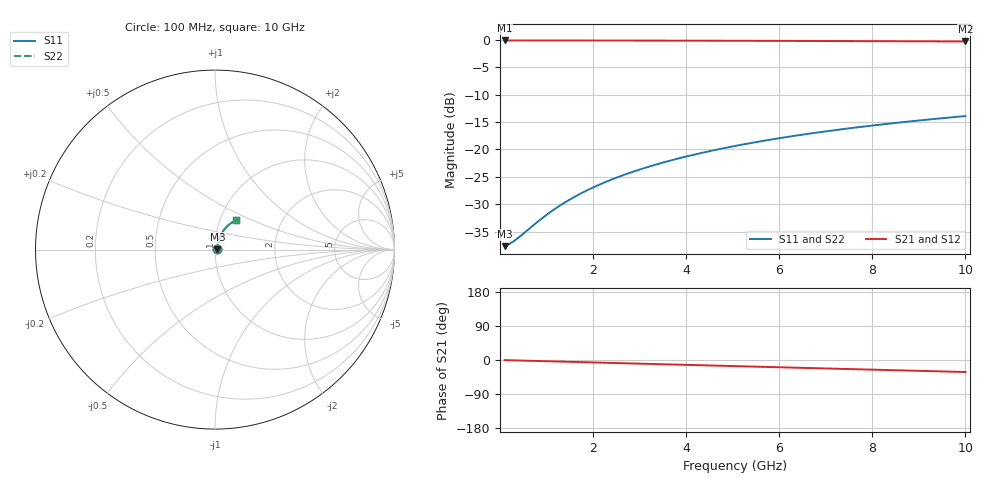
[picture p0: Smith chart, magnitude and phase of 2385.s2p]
# Hz S RI R 50.00
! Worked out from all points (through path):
!   100 points, 100 MHz to 10 GHz, reference 50 ohm
!   highest |S21| = -0.11 dB at 100 MHz (marker M1); lowest = -0.3 dB at 10 GHz (marker M2)
!   group delay of S21, straight-line fit = 8.81 ps
!   lowest |S11| = -37.7 dB at 100 MHz (marker M3), VSWR 1.03, Z = 51.3 + j0.213 ohm
!   |S11| at or under -10 dB: start of sweep to end of sweep
!   |S22| runs from -37.7 to -13.9 dB; largest |S21 - S12| = 0
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1e8  0.0129 0.00208  0.9871 -0.00553  0.9871 -0.00553  0.0129 0.00208
2e8  0.013 0.00415  0.9869 -0.0111  0.9869 -0.0111  0.013 0.00415
3e8  0.0131 0.00622  0.9868 -0.0166  0.9868 -0.0166  0.0131 0.00622
4e8  0.0133 0.00829  0.9866 -0.0221  0.9866 -0.0221  0.0133 0.00829
9e8  0.0142 0.0186  0.9853 -0.0497  0.9853 -0.0497  0.0142 0.0186
1.2e9  0.015 0.0248  0.9841 -0.0663  0.9841 -0.0663  0.015 0.0248
1.5e9  0.016 0.0309  0.9826 -0.0828  0.9826 -0.0828  0.016 0.0309
1.8e9  0.0172 0.037  0.9808 -0.0992  0.9808 -0.0992  0.0172 0.037
2.1e9  0.0186 0.0431  0.9787 -0.1156  0.9787 -0.1156  0.0186 0.0431
2.5e9  0.0208 0.051  0.9754 -0.1374  0.9754 -0.1374  0.0208 0.051
2.9e9  0.0233 0.0589  0.9715 -0.1591  0.9715 -0.1591  0.0233 0.0589
3.4e9  0.027 0.0685  0.966 -0.186  0.966 -0.186  0.027 0.0685
3.8e9  0.0303 0.0761  0.9609 -0.2073  0.9609 -0.2073  0.0303 0.0761
4.2e9  0.0339 0.0835  0.9554 -0.2285  0.9554 -0.2285  0.0339 0.0835
4.6e9  0.0378 0.0907  0.9493 -0.2494  0.9493 -0.2494  0.0378 0.0907
5.1e9  0.0432 0.0994  0.941 -0.2754  0.941 -0.2754  0.0432 0.0994
5.9e9  0.0527 0.1127  0.9261 -0.3161  0.9261 -0.3161  0.0527 0.1127
6.7e9  0.0634 0.125  0.9093 -0.3559  0.9093 -0.3559  0.0634 0.125
7.5e9  0.075 0.1363  0.8906 -0.3945  0.8906 -0.3945  0.075 0.1363
8.4e9  0.0892 0.1477  0.8677 -0.4365  0.8677 -0.4365  0.0892 0.1477
9.2e9  0.1026 0.1565  0.8456 -0.4725  0.8456 -0.4725  0.1026 0.1565
1e10  0.1166 0.1641  0.822 -0.5072  0.822 -0.5072  0.1166 0.1641
